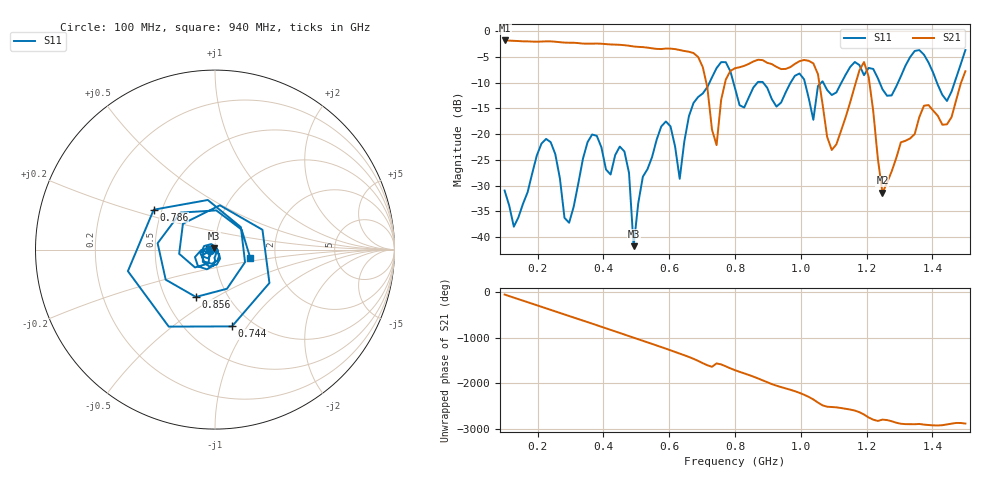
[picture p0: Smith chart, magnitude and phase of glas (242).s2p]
! NanoVNA-App
! Date: 2025-09-25 15:57:21
! Start: 100MHz Stop: 1,5GHz Points: 101
! S-Parameter data: F S11 S21 S12 S22
# Hz S RI R 50
!  Frequency  S11_Real  S11_Imag  S21_Real  S21_Imag  S12_Real  S12_Imag  S22_Real  S22_Imag
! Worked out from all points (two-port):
!   101 points, 100 MHz to 1.5 GHz, reference 50 ohm
!   highest |S21| = -1.80 dB at 100 MHz (marker M1); lowest = -31.4 dB at 1.248 GHz (marker M2)
!   |S21| within 3 dB of the highest: start of sweep to 684.1 MHz
!   lowest |S11| = -41.7 dB at 492 MHz (marker M3), VSWR 1.02, Z = 49.5 + j0.64 ohm
!   |S11| at or under -10 dB: start of sweep to 722.4 MHz; 795.4 MHz to 868 MHz (72.61 MHz wide, 8.73 % of centre); 885.8 MHz to 968.8 MHz (83.04 MHz wide, 8.96 % of centre) (the widest 3 of 7)
!   S12 and S22 are empty: the file has one direction only
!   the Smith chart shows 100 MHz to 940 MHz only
!   S11 on the Smith chart (normalised r, x): 100 MHz: 0.95, -0.01; 744 MHz: 0.81, -0.85; 786 MHz: 0.45, +0.24; 856 MHz: 0.71, -0.41; 940 MHz: 1.48, -0.15
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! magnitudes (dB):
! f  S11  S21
! 100 MHz  -30.9  -1.8
! 128 MHz  -38.0  -1.9
! 226 MHz  -20.9  -2.0
! 296 MHz  -37.2  -2.2
! 338 MHz  -24.8  -2.4
! 464 MHz  -23.4  -2.7
! 492 MHz  -41.7  -3.0
! 576 MHz  -18.5  -3.5
! 632 MHz  -28.7  -3.7
! 702 MHz  -12.1  -7.0
! 744 MHz  -7.2  -22.1
! 786 MHz  -7.8  -7.7
! 800 MHz  -11.1  -7.2
! 856 MHz  -10.9  -5.9
! 940 MHz  -13.9  -7.4
! 1.038 GHz  -17.2  -6.2
! 1.094 GHz  -12.4  -23.1
! 1.192 GHz  -8.5  -6.0
! 1.248 GHz  -11.3  -31.4
! 1.276 GHz  -12.5  -27.2
! 1.444 GHz  -13.5  -18.1
! 1.5 GHz  -3.7  -7.8
